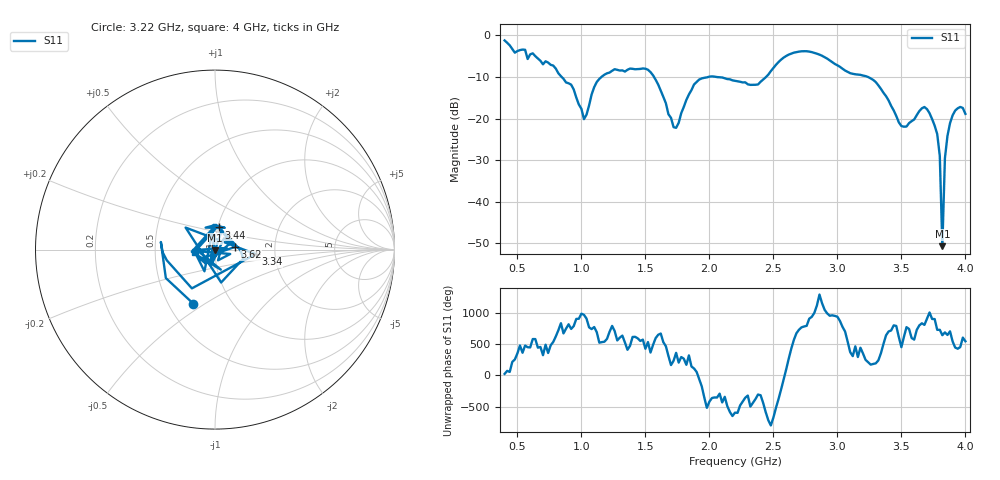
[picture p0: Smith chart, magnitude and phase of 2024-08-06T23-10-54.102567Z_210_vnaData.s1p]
!Created with skrf (http://scikit-rf.org).
# Hz S RI R 50.0
!freq ReS11 ImS11
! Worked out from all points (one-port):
!   181 points, 400 MHz to 4 GHz, reference 50 ohm
!   lowest |S11| = -50.7 dB at 3.82 GHz (marker M1), VSWR 1.01, Z = 50.1 - j0.287 ohm
!   |S11| at or under -10 dB: 1.568 GHz to 1.989 GHz (420.9 MHz wide, 23.7 % of centre); 2.059 GHz to 2.442 GHz (383.1 MHz wide, 17 % of centre); 3.241 GHz to end of sweep (the widest 3 of 4)
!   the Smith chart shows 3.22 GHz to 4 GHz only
!   S11 on the Smith chart (normalised r, x): 3.22 GHz: 0.66, -0.45; 3.34 GHz: 1.58, -0.08; 3.44 GHz: 1.02, +0.25; 3.62 GHz: 1.25, +0.04; 4 GHz: 0.80, -0.02
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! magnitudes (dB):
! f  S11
! 400 MHz  -1.2
! 860 MHz  -10.4
! 940 MHz  -13.0
! 1.02 GHz  -20.1
! 1.12 GHz  -11.2
! 1.3 GHz  -8.4
! 1.52 GHz  -8.2
! 1.72 GHz  -22.0
! 1.76 GHz  -21.0
! 1.92 GHz  -10.6
! 2.2 GHz  -10.9
! 2.38 GHz  -11.8
! 2.66 GHz  -4.1
! 3.1 GHz  -9.1
! 3.22 GHz  -9.8
! 3.34 GHz  -12.8
! 3.44 GHz  -18.0
! 3.5 GHz  -21.8
! 3.56 GHz  -21.1
! 3.62 GHz  -19.2
! 3.7 GHz  -17.7
! 3.78 GHz  -23.7
! 3.8 GHz  -29.0
! 3.82 GHz  -50.7
! 3.84 GHz  -29.5
! 3.86 GHz  -24.1
! 3.92 GHz  -18.1
! 4 GHz  -18.9
